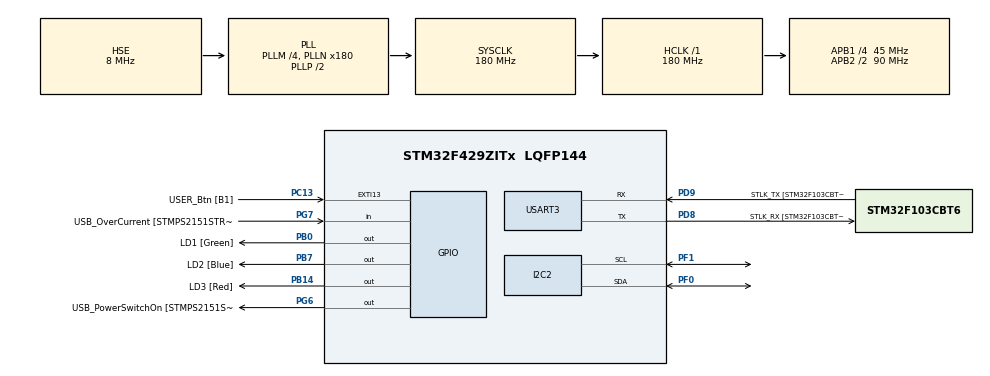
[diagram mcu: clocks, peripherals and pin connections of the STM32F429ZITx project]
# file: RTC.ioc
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Mcu.Family=STM32F4
Mcu.Name=STM32F429ZITx
Mcu.Package=LQFP144
NVIC.PriorityGroup=NVIC_PRIORITYGROUP_4
NVIC.USART3_IRQn=true\:0\:0\:false\:false\:true\:true\:true\:true
PA1.GPIO_Label=RMII_REF_CLK [LAN8742A-CZ-TR_REFCLK0]
PA1.Signal=ETH_REF_CLK
PA10.GPIO_Label=USB_ID
PA10.Signal=USB_OTG_FS_ID
PA11.GPIO_Label=USB_DM
PA11.Signal=USB_OTG_FS_DM
PA12.GPIO_Label=USB_DP
PA12.Signal=USB_OTG_FS_DP
PA13.GPIO_Label=TMS
PA13.Mode=Serial_Wire
PA13.Signal=SYS_JTMS-SWDIO
PA14.GPIO_Label=TCK
PA14.Mode=Serial_Wire
PA14.Signal=SYS_JTCK-SWCLK
PA2.GPIO_Label=RMII_MDIO [LAN8742A-CZ-TR_MDIO]
PA2.Signal=ETH_MDIO
PA7.GPIO_Label=RMII_CRS_DV [LAN8742A-CZ-TR_CRS_DV]
PA7.Signal=ETH_CRS_DV
PA8.GPIO_Label=USB_SOF [TP1]
PA8.Signal=USB_OTG_FS_SOF
PA9.GPIO_Label=USB_VBUS
PA9.Signal=USB_OTG_FS_VBUS
PB0.GPIO_Label=LD1 [Green]
PB0.Signal=GPIO_Output
PB13.GPIO_Label=RMII_TXD1 [LAN8742A-CZ-TR_TXD1]
PB13.Signal=ETH_TXD1
PB14.GPIO_Label=LD3 [Red]
PB14.Signal=GPIO_Output
PB7.GPIO_Label=LD2 [Blue]
PB7.Signal=GPIO_Output
PC1.GPIO_Label=RMII_MDC [LAN8742A-CZ-TR_MDC]
PC1.Signal=ETH_MDC
PC13.GPIO_Label=USER_Btn [B1]
PC13.Signal=GPXTI13
PC14/OSC32_IN.Mode=LSE-External-Oscillator
PC14/OSC32_IN.Signal=RCC_OSC32_IN
PC15/OSC32_OUT.Mode=LSE-External-Oscillator
PC15/OSC32_OUT.Signal=RCC_OSC32_OUT
PC4.GPIO_Label=RMII_RXD0 [LAN8742A-CZ-TR_RXD0]
PC4.Signal=ETH_RXD0
PC5.GPIO_Label=RMII_RXD1 [LAN8742A-CZ-TR_RXD1]
PC5.Signal=ETH_RXD1
PD8.GPIO_Label=STLK_RX [STM32F103CBT6_PA3]
PD8.Mode=Asynchronous
PD8.Signal=USART3_TX
PD9.GPIO_Label=STLK_TX [STM32F103CBT6_PA2]
PD9.Mode=Asynchronous
PD9.Signal=USART3_RX
PF0.Mode=I2C
PF0.Signal=I2C2_SDA
PF1.Mode=I2C
PF1.Signal=I2C2_SCL
PG11.GPIO_Label=RMII_TX_EN [LAN8742A-CZ-TR_TXEN]
PG11.Signal=ETH_TX_EN
PG13.GPIO_Label=RMII_TXD0 [LAN8742A-CZ-TR_TXD0]
PG13.Signal=ETH_TXD0
PG6.GPIO_Label=USB_PowerSwitchOn [STMPS2151STR_EN]
PG6.Signal=GPIO_Output
PG7.GPIO_Label=USB_OverCurrent [STMPS2151STR_FAULT]
PG7.Signal=GPIO_Input
PH0/OSC_IN.GPIO_Label=MCO [STM32F103CBT6_PA8]
PH0/OSC_IN.Mode=HSE-External-Oscillator
PH0/OSC_IN.Signal=RCC_OSC_IN
PH1/OSC_OUT.Mode=HSE-External-Oscillator
PH1/OSC_OUT.Signal=RCC_OSC_OUT
ProjectManager.HeapSize=0x200
ProjectManager.StackSize=0x400
ProjectManager.TargetToolchain=STM32CubeIDE
RCC.48MHZClocksFreq_Value=90000000
RCC.AHBFreq_Value=180000000
RCC.APB1CLKDivider=RCC_HCLK_DIV4
RCC.APB1Freq_Value=45000000
RCC.APB1TimFreq_Value=90000000
RCC.APB2CLKDivider=RCC_HCLK_DIV2
RCC.APB2Freq_Value=90000000
RCC.APB2TimFreq_Value=180000000
RCC.CortexFreq_Value=180000000
RCC.HCLKFreq_Value=180000000
RCC.HSE_VALUE=8000000
RCC.HSI_VALUE=16000000
RCC.PLLM=4
RCC.PLLMUL=RCC_PLL_MUL9
RCC.PLLN=180
RCC.PLLSourceVirtual=RCC_PLLSOURCE_HSE
RCC.PRESCALERUSB=RCC_USBCLKSOURCE_PLL_DIV1_5
RCC.RCC_RTC_Clock_Source=RCC_RTCCLKSOURCE_LSE
RCC.SYSCLKFreq_VALUE=180000000
RCC.SYSCLKSource=RCC_SYSCLKSOURCE_PLLCLK
RCC.SYSCLKSourceVirtual=RCC_SYSCLKSOURCE_PLLCLK
RCC.USBFreq_Value=48000000
RCC.VCOOutputFreq_Value=360000000
USART3.VirtualMode=VM_ASYNC
VP_RTC_VS_RTC_Activate.Mode=RTC_Enabled
board=NUCLEO-F429ZI

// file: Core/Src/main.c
/* USER CODE BEGIN Header */
/**
  ******************************************************************************
  * @file           : main.c
  * @brief          : Main program body
  ******************************************************************************
  * @attention
  *
  * Copyright (c) 2022 STMicroelectronics.
  * All rights reserved.
  *
  * This software is licensed under terms that can be found in the LICENSE file
  * in the root directory of this software component.
  * If no LICENSE file comes with this software, it is provided AS-IS.
  *
  ******************************************************************************
  */
/* USER CODE END Header */
#include "main.h"
#include "i2c.h"
#include "rtc.h"
#include "usart.h"
#include "gpio.h"

/* USER CODE BEGIN Includes */
#include"i2c-lcd.h"
#include"UartRingbuffer.h"

/* USER CODE END Includes */

/* USER CODE BEGIN PTD */
uint8_t text[10] = "WELCOME \n";
uint8_t num_of_byte = 0;

/* USER CODE END PTD */

/* USER CODE BEGIN PV */

char time[10];
char date[10];
uint16_t position;
char buffer[20],buffer2[3];
char hex[5],start=1,end=1;
int data,k,j,cnt,status;
uint8_t hrs=0x10,min=0x32,sec=0x21,dt=0x01,mnth=0x01,yr=0x16;
int dataChar=0;
uint8_t num=0;
int bFlag = 0;
int iDataCounter=0;

/* USER CODE END PV */

void SystemClock_Config(void);
/* USER CODE BEGIN PFP */

void decToHexa(int n);

RTC_TimeTypeDef sTime;
RTC_DateTypeDef sDate;

/* USER CODE END PFP */

/* USER CODE BEGIN 0 */
///////////////////////////////////////////////////////////////////////////////////////////////////////
void set_time (void)
{
  RTC_TimeTypeDef sTime;
  RTC_DateTypeDef sDate;

  sTime.Hours = hrs;	// hour; // set hours
  sTime.Minutes = min; // set minutes
  sTime.Seconds = sec; // set seconds
  sTime.DayLightSaving = RTC_DAYLIGHTSAVING_NONE;
  sTime.StoreOperation = RTC_STOREOPERATION_RESET;

  if (HAL_RTC_SetTime(&hrtc, &sTime, RTC_FORMAT_BIN) != HAL_OK)
  {
	  Error_Handler();
  }

    sDate.WeekDay = RTC_WEEKDAY_MONDAY; //day
    sDate.Month = mnth;		//0x05;			//RTC_MONTH_MAY; //month
    sDate.Date = dt;		//0x16; 			// date
    sDate.Year = yr;		//0x22; 			// year
    if (HAL_RTC_SetDate(&hrtc, &sDate, RTC_FORMAT_BIN) != HAL_OK)
    {
    	Error_Handler();
    }
  HAL_RTCEx_BKUPWrite(&hrtc, RTC_BKP_DR1, 0x32F2); // backup register
}

void get_time(void)
{
 RTC_DateTypeDef gDate;
 RTC_TimeTypeDef gTime;
// Get the RTC current Time
 HAL_RTC_GetTime(&hrtc, &gTime, RTC_FORMAT_BIN);
// Get the RTC current Date
 HAL_RTC_GetDate(&hrtc, &gDate, RTC_FORMAT_BIN);
// Display time Format: hh:mm:ss
 //sprintf((char*)time,"%02d:%02d:%02d",gTime.Hours, gTime.Minutes, gTime.Seconds);
 //gTime.Hours=hrs;		// Set hour via usart
 //gTime.Minutes = min;	// Set min via usart
 //gTime.Seconds = sec;	// Set sec via usart
 sprintf((char*)time,"%02d:%02d:%02d",gTime.Hours, gTime.Minutes, gTime.Seconds);
 //Display date Format: dd-mm-yy
 sprintf((char*)date,"%02d-%02d-%02d",gDate.Date, gDate.Month, 2000 + gDate.Year);
 }

void display_time (void)
{

 lcd_clear();
 lcd_send_cmd (0x80); // send cursor to 0,0
 lcd_send_string (time);
 lcd_send_cmd (0xc0); // send cursor to 1,0
 lcd_send_string (date);
 hrs=min=sec=0;
 dt=mnth=yr=0;
}

void setCursor(int a, int b)
{
	int i=0;
	switch(b){
	case 0:lcd_send_cmd(0x80);break;
	case 1:lcd_send_cmd(0xC0);break;
	case 2:lcd_send_cmd(0x94);break;
	case 3:lcd_send_cmd(0xd4);break;}
	for(i=0;i<a;i++)
	lcd_send_cmd(0x14);
}

int charToInt(char* c,int j){

	 int i=0;
	 switch(j){
	 	 case 0:
	 		 i = (*c - 48)*10;
	 		 break;
	 	 case 1:
	 		 i = *(c+1)-48;

	 		 break;

	 	 default:
	 		 break;
	 }
	return i;

}

///////////////////////////////////////////////////////////////////////////////////////

/* USER CODE END 0 */

int main(void)
{

  /* MCU Configuration--------------------------------------------------------*/

  /* Reset of all peripherals, Initializes the Flash interface and the Systick. */
  HAL_Init();

  /* Configure the system clock */
  SystemClock_Config();

  /* Initialize all configured peripherals */
  MX_GPIO_Init();
  MX_USART3_UART_Init();
  MX_I2C2_Init();
  MX_RTC_Init();
  /* USER CODE BEGIN 2 */
  lcd_init();
  Ringbuf_init();

 // lcd_send_string("**** HELLO ****");
  set_time();

  /* USER CODE END 2 */

  /* Infinite loop */
  /* USER CODE BEGIN WHILE */
  while (1)
  {

	  if(iDataCounter >= 8)
	  {
	  	//c = buffer[1];

	  	hrs += (buffer[0] - 48)*10;
	  	hrs += (buffer[1]-48);

	  	min += (buffer[3] - 48)*10;
   	  	min += (buffer[4]-48);

		sec += (buffer[6] - 48)*10;
	  	sec += (buffer[7]-48);

	  			dt += (buffer[9] - 48)*10;
	  		  	dt += (buffer[10]-48);

	  		  	mnth += (buffer[12] - 48)*10;
	  	   	  	mnth += (buffer[13]-48);

	  			yr += (buffer[17] - 48)*10;
	  		  	yr += (buffer[18]-48);

	  	iDataCounter=0;
	  	set_time();
	  }

	  get_time();
	  display_time();

	//  for(k=0;k<9;k++) 	  buffer2[k]=0 ;
	  HAL_Delay(800);

    /* USER CODE END WHILE */

  }
}

void SystemClock_Config(void)
{
  RCC_OscInitTypeDef RCC_OscInitStruct = {0};
  RCC_ClkInitTypeDef RCC_ClkInitStruct = {0};

  /** Configure the main internal regulator output voltage
  */
  __HAL_RCC_PWR_CLK_ENABLE();
  __HAL_PWR_VOLTAGESCALING_CONFIG(PWR_REGULATOR_VOLTAGE_SCALE1);

  /** Initializes the RCC Oscillators according to the specified parameters
  * in the RCC_OscInitTypeDef structure.
  */
  RCC_OscInitStruct.OscillatorType = RCC_OSCILLATORTYPE_HSE|RCC_OSCILLATORTYPE_LSE;
  RCC_OscInitStruct.HSEState = RCC_HSE_ON;
  RCC_OscInitStruct.LSEState = RCC_LSE_ON;
  RCC_OscInitStruct.PLL.PLLState = RCC_PLL_ON;
  RCC_OscInitStruct.PLL.PLLSource = RCC_PLLSOURCE_HSE;
  RCC_OscInitStruct.PLL.PLLM = 4;
  RCC_OscInitStruct.PLL.PLLN = 180;
  RCC_OscInitStruct.PLL.PLLP = RCC_PLLP_DIV2;
  RCC_OscInitStruct.PLL.PLLQ = 4;
  if (HAL_RCC_OscConfig(&RCC_OscInitStruct) != HAL_OK)
  {
    Error_Handler();
  }

  /** Activate the Over-Drive mode
  */
  if (HAL_PWREx_EnableOverDrive() != HAL_OK)
  {
    Error_Handler();
  }

  /** Initializes the CPU, AHB and APB buses clocks
  */
  RCC_ClkInitStruct.ClockType = RCC_CLOCKTYPE_HCLK|RCC_CLOCKTYPE_SYSCLK
                              |RCC_CLOCKTYPE_PCLK1|RCC_CLOCKTYPE_PCLK2;
  RCC_ClkInitStruct.SYSCLKSource = RCC_SYSCLKSOURCE_PLLCLK;
  RCC_ClkInitStruct.AHBCLKDivider = RCC_SYSCLK_DIV1;
  RCC_ClkInitStruct.APB1CLKDivider = RCC_HCLK_DIV4;
  RCC_ClkInitStruct.APB2CLKDivider = RCC_HCLK_DIV2;

  if (HAL_RCC_ClockConfig(&RCC_ClkInitStruct, FLASH_LATENCY_5) != HAL_OK)
  {
    Error_Handler();
  }
}

void Error_Handler(void)
{
  __disable_irq();
  while (1)
  {
  }
}
